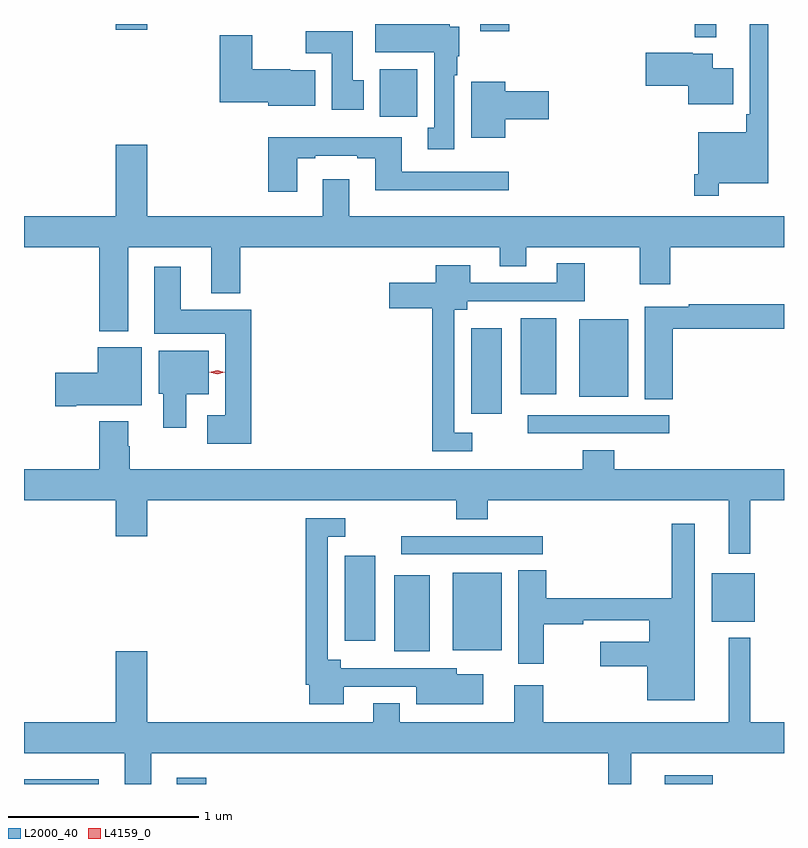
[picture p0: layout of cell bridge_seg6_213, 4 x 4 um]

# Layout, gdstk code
import gdstk
lib = gdstk.Library(unit=1e-6, precision=1e-09)
def R(c, l, rs):  # rectangles x0, y0, x1, y1
    for r in rs: c.add(gdstk.rectangle(r[:2], r[2:], *l))
def P(c, l, *ps):  # polygons
    for p in ps: c.add(gdstk.Polygon(p, *l))
L2000_40 = (2000, 40)
L4159_0 = (4159, 0)

bridge_seg6_213 = lib.new_cell('bridge_seg6_213')
R(bridge_seg6_213, L2000_40, [(212.476,972.483,212.869,972.508), (213.281,972.483,213.434,972.517), (215.849,972.483,216.1,972.529), (214.424,973.181,214.612,973.582), (214.733,973.187,214.99,973.594), (214.163,973.236,214.324,973.684), (216.095,973.337,216.322,973.591), (214.461,973.692,215.206,973.788), (215.127,974.328,215.872,974.424), (214.829,974.433,214.99,974.881), (215.399,974.522,215.656,974.929), (215.09,974.534,215.278,974.935), (214.349,975.996,214.545,976.246), (216.006,976.412,216.119,976.483), (214.877,976.446,215.03,976.483), (212.96,976.452,213.124,976.483)])
P(bridge_seg6_213, L2000_40, [(214.741,976.214),(214.756,976.214),(214.756,976.314),(214.768,976.314),(214.768,976.468),(214.717,976.468),(214.717,976.483),(214.325,976.483),(214.325,976.334),(214.634,976.334),(214.634,975.937),(214.601,975.937),(214.601,975.825),(214.741,975.825)],
  [(216.133,975.644),(216.394,975.644),(216.394,976.483),(216.297,976.483),(216.297,976.009),(216.277,976.009),(216.277,975.913),(216.024,975.913),(216.024,975.691),(216.004,975.691),(216.004,975.579),(216.133,975.579)],
  [(214.264,976.188),(214.207,976.188),(214.207,976.446),(213.958,976.446),(213.958,976.328),(214.097,976.328),(214.097,976.032),(214.264,976.032)],
  [(214.009,976.24),(213.876,976.24),(213.876,976.246),(213.676,976.246),(213.676,976.423),(213.506,976.423),(213.506,976.07),(213.762,976.07),(213.762,976.052),(214.009,976.052)],
  [(216.208,976.249),(216.1,976.249),(216.1,976.327),(215.996,976.327),(215.996,976.332),(215.748,976.332),(215.748,976.157),(215.972,976.157),(215.972,976.061),(216.208,976.061)],
  [(215.008,975.983),(215.239,975.983),(215.239,976.13),(215.008,976.13),(215.008,976.18),(214.829,976.18),(214.829,975.884),(215.008,975.884)],
  [(213.913,975.777),(214.009,975.777),(214.009,975.789),(214.229,975.789),(214.229,975.777),(214.325,975.777),(214.325,975.608),(215.026,975.608),(215.026,975.705),(214.465,975.705),(214.465,975.886),(213.761,975.886),(213.761,975.6),(213.913,975.6)],
  [(213.025,975.308),(213.461,975.308),(213.461,975.065),(213.614,975.065),(213.614,975.308),(214.979,975.308),(214.979,975.209),(215.119,975.209),(215.119,975.308),(215.716,975.308),(215.716,975.114),(215.876,975.114),(215.876,975.308),(216.476,975.308),(216.476,975.472),(214.189,975.472),(214.189,975.667),(214.049,975.667),(214.049,975.472),(213.124,975.472),(213.124,975.847),(212.96,975.847),(212.96,975.472),(212.476,975.472),(212.476,975.308),(212.873,975.308),(212.873,974.867),(213.025,974.867)],
  [(214.834,974.331),(214.74,974.331),(214.74,974.978),(214.81,974.978),(214.81,975.024),(215.427,975.024),(215.427,975.223),(215.279,975.223),(215.279,975.12),(214.825,975.12),(214.825,975.214),(214.643,975.214),(214.643,975.121),(214.398,975.121),(214.398,974.987),(214.624,974.987),(214.624,974.235),(214.834,974.235)],
  [(213.671,974.98),(213.301,974.98),(213.301,975.205),(213.161,975.205),(213.161,974.852),(213.536,974.852),(213.536,974.425),(213.441,974.425),(213.441,974.273),(213.671,974.273)],
  [(215.891,974.878),(216.476,974.878),(216.476,975.007),(215.974,975.007),(215.974,974.994),(215.744,974.994),(215.744,974.509),(215.891,974.509)],
  [(212.752,974.477),(213.097,974.477),(213.097,974.782),(212.864,974.782),(212.864,974.648),(212.64,974.648),(212.64,974.47),(212.752,974.47)],
  [(213.331,974.534),(213.448,974.534),(213.448,974.764),(213.185,974.764),(213.185,974.538),(213.209,974.538),(213.209,974.358),(213.331,974.358)],
  [(216.299,973.976),(216.476,973.976),(216.476,974.14),(215.582,974.14),(215.582,974.239),(215.417,974.239),(215.417,974.14),(213.033,974.14),(213.033,974.261),(213.025,974.261),(213.025,974.392),(212.873,974.392),(212.873,974.14),(212.476,974.14),(212.476,973.976),(212.96,973.976),(212.96,973.788),(213.124,973.788),(213.124,973.976),(214.751,973.976),(214.751,973.877),(214.916,973.877),(214.916,973.976),(216.185,973.976),(216.185,973.695),(216.299,973.695)],
  [(214.159,972.996),(214.541,972.996),(214.541,972.902),(214.894,972.902),(214.894,973.06),(214.753,973.06),(214.753,973.092),(214.144,973.092),(214.144,973.138),(214.074,973.138),(214.074,973.785),(214.168,973.785),(214.168,973.881),(213.958,973.881),(213.958,973.006),(213.977,973.006),(213.977,972.902),(214.159,972.902)],
  [(216.007,973.852),(215.886,973.852),(215.886,973.46),(215.225,973.46),(215.225,973.607),(215.078,973.607),(215.078,973.116),(215.212,973.116),(215.212,973.324),(215.42,973.324),(215.42,973.344),(215.768,973.344),(215.768,973.231),(215.508,973.231),(215.508,973.102),(215.756,973.102),(215.756,972.923),(216.007,972.923)],
  [(213.145,972.644),(215.55,972.644),(215.55,972.483),(215.671,972.483),(215.671,972.644),(216.476,972.644),(216.476,972.808),(216.299,972.808),(216.299,973.252),(216.185,973.252),(216.185,972.808),(215.21,972.808),(215.21,973.003),(215.057,973.003),(215.057,972.808),(214.453,972.808),(214.453,972.907),(214.313,972.907),(214.313,972.808),(213.124,972.808),(213.124,973.183),(212.96,973.183),(212.96,972.808),(212.476,972.808),(212.476,972.644),(213.005,972.644),(213.005,972.483),(213.145,972.483)])
P(bridge_seg6_213, L4159_0, [(213.493,974.64),(213.452,974.65),(213.452,974.65),(213.452,974.65),(213.493,974.66),(213.533,974.65),(213.533,974.65),(213.533,974.65)])

lib.write_gds('bridge_seg6_213.gds')
